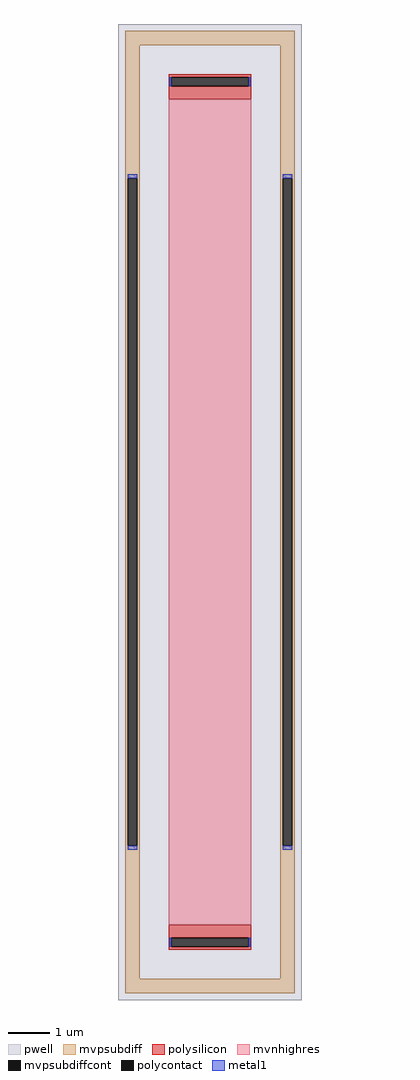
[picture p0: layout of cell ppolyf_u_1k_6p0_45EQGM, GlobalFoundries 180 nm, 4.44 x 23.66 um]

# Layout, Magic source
magic
tech gf180mcuD
magscale 1 10
<< pwell >>
rect -444 -2366 444 2366
<< mvpsubdiff >>
rect -412 2262 412 2334
rect -412 1617 -340 2262
rect -412 -1617 -399 1617
rect -353 -1617 -340 1617
rect -412 -2262 -340 -1617
rect 340 1617 412 2262
rect 340 -1617 353 1617
rect 399 -1617 412 1617
rect 340 -2262 412 -1617
rect -412 -2334 412 -2262
<< mvpsubdiffcont >>
rect -399 -1617 -353 1617
rect 353 -1617 399 1617
<< polysilicon >>
rect -200 2109 200 2122
rect -200 2063 -187 2109
rect 187 2063 200 2109
rect -200 2000 200 2063
rect -200 -2063 200 -2000
rect -200 -2109 -187 -2063
rect 187 -2109 200 -2063
rect -200 -2122 200 -2109
<< polycontact >>
rect -187 2063 187 2109
rect -187 -2109 187 -2063
<< mvnhighres >>
rect -200 -2000 200 2000
<< metal1 >>
rect -198 2063 -187 2109
rect 187 2063 198 2109
rect -399 1617 -353 1637
rect -399 -1637 -353 -1617
rect 353 1617 399 1637
rect 353 -1637 399 -1617
rect -198 -2109 -187 -2063
rect 187 -2109 198 -2063
<< properties >>
string FIXED_BBOX -376 -2298 376 2298
string gencell ppolyf_u_1k_6p0
string library gf180mcu
string parameters w 2.0 l 20.0 m 1 nx 1 wmin 1.000 lmin 1.000 class resistor rho 1000 val 10.0k dummy 0 dw 0.0 term 0.0 sterm 0.0 caplen 0.4 snake 0 glc 1 grc 1 gtc 0 gbc 0 roverlap 1 endcov 100 full_metal 0 compatible {ppolyf_u_1k ppolyf_u_1k_6p0}
<< end >>
